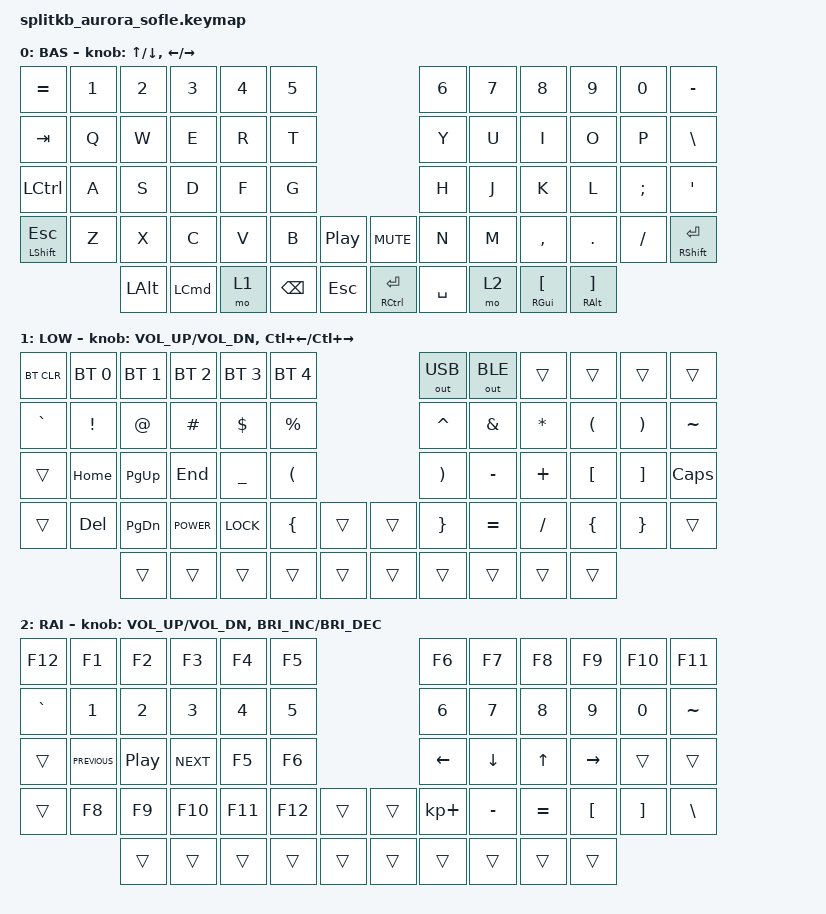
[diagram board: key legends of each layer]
/*
 * Copyright (c) 2023 The ZMK Contributors
 *
 * SPDX-License-Identifier: MIT
 */

#include <behaviors.dtsi>
#include <dt-bindings/zmk/bt.h>
#include <dt-bindings/zmk/keys.h>
#include <dt-bindings/zmk/outputs.h>

/* Uncomment this block if using RGB
&led_strip {
    chain-length = <6>;
    // chain-length = <35>; // Uncomment if using both per-key and underglow LEDs
    // chain-length = <29>; // Uncomment if using only per-key LEDs.
};
 */

/ {
    keymap {
        compatible = "zmk,keymap";

        default_layer {
            display-name = "BAS";

            // ------------------------------------------------------------------------------------------------------------
            // |  ESC  |  1  |  2  |  3   |  4   |  5   |                   |  6   |  7    |  8    |  9   |   0   |   `   |
            // |  TAB  |  Q  |  W  |  E   |  R   |  T   |                   |  Y   |  U    |  I    |  O   |   P   |   -   |
            // |  CTRL |  A  |  S  |  D   |  F   |  G   |                   |  H   |  J    |  K    |  L   |   ;   |   '   |
            // | SHIFT |  Z  |  X  |  C   |  V   |  B   |   "["  |  |  "]"  |  N   |  M    |  ,    |  .   |   /   | SHIFT |
            //               |CTRL | ALT  | GUI  | LOWER|  SPACE |  | ENTER | RAISE| BSPC  | GUI   | RALT |

            bindings = <
&kp EQUAL         &kp N1  &kp N2        &kp N3            &kp N4  &kp N5                                              &kp N6     &kp N7  &kp N8                 &kp N9                  &kp N0    &kp MINUS
&kp TAB           &kp Q   &kp W         &kp E             &kp R   &kp T                                               &kp Y      &kp U   &kp I                  &kp O                   &kp P     &kp BACKSLASH
&kp LCTRL         &kp A   &kp S         &kp D             &kp F   &kp G                                               &kp H      &kp J   &kp K                  &kp L                   &kp SEMI  &kp SQT
&mt LSHFT ESCAPE  &kp Z   &kp X         &kp C             &kp V   &kp B          &kp C_PLAY_PAUSE    &kp C_MUTE       &kp N      &kp M   &kp COMMA              &kp DOT                 &kp FSLH  &mt RSHFT ENTER
                          &kp LEFT_ALT  &kp LEFT_COMMAND  &mo 1   &kp BACKSPACE  &kp ESCAPE          &mt RCTRL ENTER  &kp SPACE  &mo 2   &mt RGUI LEFT_BRACKET  &mt RALT RIGHT_BRACKET
            >;

            sensor-bindings = <&inc_dec_kp UP DOWN>, <&inc_dec_kp LEFT RIGHT>;
        };

        lower_layer {
            display-name = "LOW";

            // ------------------------------------------------------------------------------------------------------------
            // | BTCLR | BT1 | BT2 |  BT3 |  BT4 |  BT5 |                   |      |       |       |      |       |       |
            // |  F1   |  F2 |  F3 |  F4  |  F5  |  F6  |                   |  F7  |  F8   |  F9   |  F10 |  F11  |  F12  |
            // |   `   |  !  |  @  |  #   |  $   |  %   |                   |  ^   |  &    |  *    |  (   |   )   |   ~   |
            // |       |     |     |      |      |      |        |  |       |      |  _    |  +    |  {   |   }   |  "|"  |
            //               |     |      |      |      |        |  |       |      |       |       |      |

            bindings = <
&bt BT_CLR  &bt BT_SEL 0  &bt BT_SEL 1   &bt BT_SEL 2  &bt BT_SEL 3    &bt BT_SEL 4                      &out OUT_USB     &out OUT_BLE  &trans     &trans    &trans    &trans
&kp GRAVE   &kp EXCL      &kp AT         &kp POUND     &kp DOLLAR      &kp PERCENT                       &kp CARET        &kp AMPS      &kp ASTRK  &kp LPAR  &kp RPAR  &kp TILDE
&trans      &kp HOME      &kp PAGE_UP    &kp END       &kp UNDERSCORE  &kp LPAR                          &kp RPAR         &kp MINUS     &kp PLUS   &kp LBKT  &kp RBKT  &kp CAPSLOCK
&trans      &kp DELETE    &kp PAGE_DOWN  &kp K_POWER   &kp K_LOCK      &kp LEFT_BRACE  &trans    &trans  &kp RIGHT_BRACE  &kp EQUAL     &kp SLASH  &kp LBRC  &kp RBRC  &trans
                          &trans         &trans        &trans          &trans          &trans    &trans  &trans           &trans        &trans     &trans
            >;

            sensor-bindings =
                <&inc_dec_kp C_VOL_UP C_VOL_DN>,
                <&inc_dec_kp LC(LEFT) LC(RIGHT)>;
        };

        raise_layer {
            display-name = "RAI";

            // ------------------------------------------------------------------------------------------------------------
            // |       |     |     |      |      |      |                   |      |       |       |      |       |       |
            // |   `   |  1  |  2  |  3   |  4   |  5   |                   |  6   |   7   |   8   |  9   |   0   |       |
            // |   F1  |  F2 |  F3 |  F4  |  F5  |  F6  |                   |      |   <-  |   v   |  ^   |  ->   |       |
            // |   F7  |  F8 |  F9 |  F10 |  F11 |  F12 |        |  |       |  +   |   -   |   =   |  [   |   ]   |   \   |
            //               |     |      |      |      |        |  |       |      |       |       |      |

            bindings = <
&kp F12    &kp F1          &kp F2            &kp F3      &kp F4   &kp F5                     &kp F6       &kp F7          &kp F8        &kp F9     &kp F10   &kp F11
&kp GRAVE  &kp N1          &kp N2            &kp N3      &kp N4   &kp N5                     &kp N6       &kp N7          &kp N8        &kp N9     &kp N0    &kp TILDE
&trans     &kp C_PREVIOUS  &kp C_PLAY_PAUSE  &kp C_NEXT  &kp F5   &kp F6                     &kp LEFT     &kp DOWN_ARROW  &kp UP_ARROW  &kp RIGHT  &trans    &trans
&trans     &kp F8          &kp F9            &kp F10     &kp F11  &kp F12  &trans    &trans  &kp KP_PLUS  &kp MINUS       &kp EQUAL     &kp LBKT   &kp RBKT  &kp BSLH
                           &trans            &trans      &trans   &trans   &trans    &trans  &trans       &trans          &trans        &trans
            >;

            sensor-bindings =
                <&inc_dec_kp C_VOL_UP C_VOL_DN>,
                <&inc_dec_kp C_BRIGHTNESS_INC C_BRIGHTNESS_DEC>;
        };

        extra_1 { status = "reserved"; };

        extra_2 { status = "reserved"; };

        extra_3 { status = "reserved"; };
    };
};
